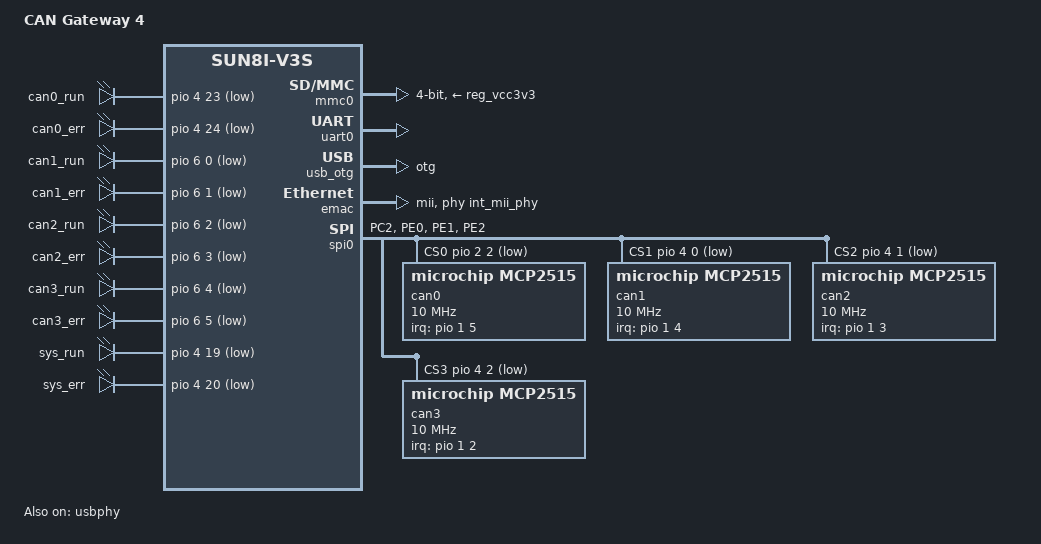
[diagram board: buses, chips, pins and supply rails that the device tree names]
/*
 * Copyright (C) 2016 Icenowy Zheng <icenowy@aosc.xyz>
 *
 * This file is dual-licensed: you can use it either under the terms
 * of the GPL or the X11 license, at your option. Note that this dual
 * licensing only applies to this file, and not this project as a
 * whole.
 *
 *  a) This file is free software; you can redistribute it and/or
 *     modify it under the terms of the GNU General Public License as
 *     published by the Free Software Foundation; either version 2 of the
 *     License, or (at your option) any later version.
 *
 *     This file is distributed in the hope that it will be useful,
 *     but WITHOUT ANY WARRANTY; without even the implied warranty of
 *     MERCHANTABILITY or FITNESS FOR A PARTICULAR PURPOSE.  See the
 *     GNU General Public License for more details.
 *
 * Or, alternatively,
 *
 *  b) Permission is hereby granted, free of charge, to any person
 *     obtaining a copy of this software and associated documentation
 *     files (the "Software"), to deal in the Software without
 *     restriction, including without limitation the rights to use,
 *     copy, modify, merge, publish, distribute, sublicense, and/or
 *     sell copies of the Software, and to permit persons to whom the
 *     Software is furnished to do so, subject to the following
 *     conditions:
 *
 *     The above copyright notice and this permission notice shall be
 *     included in all copies or substantial portions of the Software.
 *
 *     THE SOFTWARE IS PROVIDED "AS IS", WITHOUT WARRANTY OF ANY KIND,
 *     EXPRESS OR IMPLIED, INCLUDING BUT NOT LIMITED TO THE WARRANTIES
 *     OF MERCHANTABILITY, FITNESS FOR A PARTICULAR PURPOSE AND
 *     NONINFRINGEMENT. IN NO EVENT SHALL THE AUTHORS OR COPYRIGHT
 *     HOLDERS BE LIABLE FOR ANY CLAIM, DAMAGES OR OTHER LIABILITY,
 *     WHETHER IN AN ACTION OF CONTRACT, TORT OR OTHERWISE, ARISING
 *     FROM, OUT OF OR IN CONNECTION WITH THE SOFTWARE OR THE USE OR
 *     OTHER DEALINGS IN THE SOFTWARE.
 */

/dts-v1/;
#include "sun8i-v3s.dtsi"
#include "sunxi-common-regulators.dtsi"

/ {
	model = "CAN Gateway 4";
	compatible = "peace,can-gatewat-4", "allwinner,sun8i-v3s";

	aliases {
		serial0 = &uart0;
		ethernet0 = &emac;
	};

	chosen {
		stdout-path = "serial0:115200n8";
	};

	leds {
		compatible = "gpio-leds";

		led_can0_run {
			label = "can0_run";
			gpios = <&pio 4 23 GPIO_ACTIVE_LOW>; /* PE23 */
		};

		led_can0_err {
			label = "can0_err";
			gpios = <&pio 4 24 GPIO_ACTIVE_LOW>; /* PE24 */
		};

		led_can1_run {
			label = "can1_run";
			gpios = <&pio 6 0 GPIO_ACTIVE_LOW>; /* PG0 */
		};

		led_can1_err {
			label = "can1_err";
			gpios = <&pio 6 1 GPIO_ACTIVE_LOW>; /* PG1 */
		};

		led_can2_run {
			label = "can2_run";
			gpios = <&pio 6 2 GPIO_ACTIVE_LOW>; /* PG2 */
		};

		led_can2_err {
			label = "can2_err";
			gpios = <&pio 6 3 GPIO_ACTIVE_LOW>; /* PG3 */
		};

		led_can3_run {
			label = "can3_run";
			gpios = <&pio 6 4 GPIO_ACTIVE_LOW>; /* PG4 */
		};

		led_can3_err {
			label = "can3_err";
			gpios = <&pio 6 5 GPIO_ACTIVE_LOW>; /* PG5 */
		};

		led_sys_run {
			label = "sys_run";
			gpios = <&pio 4 19 GPIO_ACTIVE_LOW>; /* PE19 */
			/* default-state = "on"; */
		};

		led_sys_err {
			label = "sys_err";
			gpios = <&pio 4 20 GPIO_ACTIVE_LOW>; /* PE20 */
		};
	};
};

&mmc0 {
	pinctrl-0 = <&mmc0_pins>;
	pinctrl-names = "default";
	broken-cd;
	bus-width = <4>;
	vmmc-supply = <&reg_vcc3v3>;
	status = "okay";
};

&uart0 {
	pinctrl-0 = <&uart0_pb_pins>;
	pinctrl-names = "default";
	status = "okay";
};

&usb_otg {
	dr_mode = "otg";
	status = "okay";
};

&usbphy {
	usb0_id_det-gpio = <&pio 5 6 GPIO_ACTIVE_HIGH>;
	status = "okay";
};

&emac {
	phy-handle = <&int_mii_phy>;
	phy-mode = "mii";
	allwinner,leds-active-high;
	status = "okay";
};

&pio {
    spi0_cs_pins: spi0_cs_pins {
        pins = "PC2", "PE0", "PE1", "PE2";
        function = "gpio_out";
    };
};

&spi0 {
	pinctrl-0 = <&spi0_pins &spi0_cs_pins>;
	cs-gpios = <&pio 2 2 GPIO_ACTIVE_LOW>, <&pio 4 0 GPIO_ACTIVE_LOW>, <&pio 4 1 GPIO_ACTIVE_LOW>, <&pio 4 2 GPIO_ACTIVE_LOW>;
	status = "okay";

	can0: can@0 {
		compatible = "microchip,mcp2515";
		reg = <0>;
		clocks = <&osc24M>;
		interrupt-parent = <&pio>;
		interrupts = <1 5 IRQ_TYPE_EDGE_FALLING>; /* PB5 */
		spi-max-frequency = <10000000>;
	};

	can1: can@1 {
		compatible = "microchip,mcp2515";
		reg = <1>;
		clocks = <&osc24M>;
		interrupt-parent = <&pio>;
		interrupts = <1 4 IRQ_TYPE_EDGE_FALLING>; /* PB4 */
		spi-max-frequency = <10000000>;
	};

	can2: can@2 {
		compatible = "microchip,mcp2515";
		reg = <2>;
		clocks = <&osc24M>;
		interrupt-parent = <&pio>;
		interrupts = <1 3 IRQ_TYPE_EDGE_FALLING>; /* PB3 */
		spi-max-frequency = <10000000>;
	};

	can3: can@3 {
		compatible = "microchip,mcp2515";
		reg = <3>;
		clocks = <&osc24M>;
		interrupt-parent = <&pio>;
		interrupts = <1 2 IRQ_TYPE_EDGE_FALLING>; /* PB2 */
		spi-max-frequency = <10000000>;
	};
};
